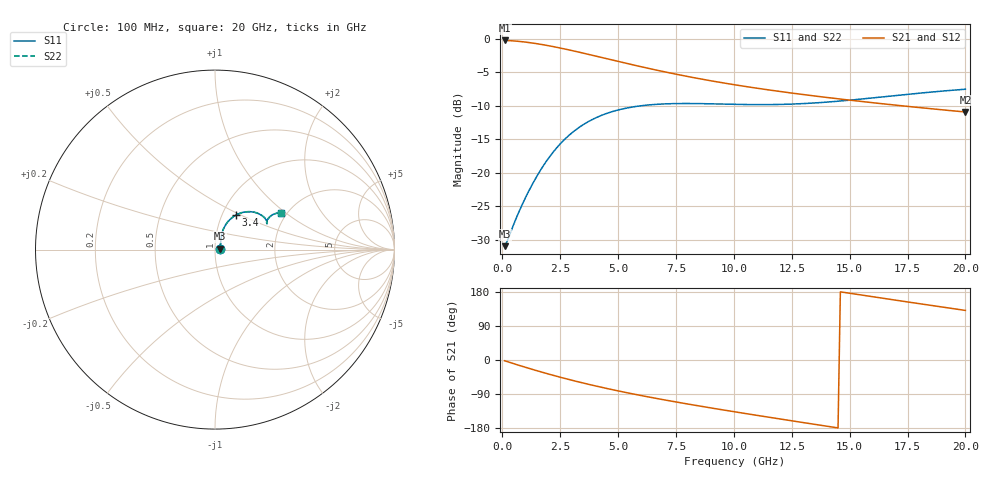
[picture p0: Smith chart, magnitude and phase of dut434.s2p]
! Touchstone file exported from HFSS 2024.1.0
!  File:  C:/UserFiles/LocalFiles/RDL_TSV_Batchsim/temp_RDL_TSV_434_1779720755.aedt
!  Generated:  11:10:46 PM May 25, 2026
!  Design:  RDL_TSV
!  Project:  temp_RDL_TSV_434_1779720755
!  Setup:  Setup1
!  Solution:  Sweep
! Variables:
!  dtsv = 6.81um
!  hbump = 3um
!  htsv = 95.97um
!  ldown = 193.76um
!  lrdl = 616.94um
!  p = 40
!  p1 = 56.95um
!  rhole = 10um
!  subl = 3049.04um
!  t = 450um
!  tdown = 2.1um
!  trdl = 2.09um
!  viad = 10um
!  wdown = 28.3um
!  wrdl = 17.92um
!  xbump = 18um
# GHz S MA R 50.000000
! Terminal data exported
! Port[1] = TM1_1_T1
! Port[2] = TM1_4_T1
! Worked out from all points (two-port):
!   200 points, 100 MHz to 20 GHz, reference 50 ohm
!   highest |S21| = -0.25 dB at 100 MHz (marker M1); lowest = -10.9 dB at 20 GHz (marker M2)
!   |S21| within 3 dB of the highest: start of sweep to 4.851 GHz
!   lowest |S11| = -30.9 dB at 100 MHz (marker M3), VSWR 1.06, Z = 52.9 + j0.644 ohm
!   |S11| at or under -10 dB: start of sweep to 5.961 GHz
!   |S22| runs from -30.9 to -7.5 dB; largest |S21 - S12| = 1.7e-14
!   S11 on the Smith chart (normalised r, x): 100 MHz: 1.06, +0.01; 3.4 GHz: 1.16, +0.47; 20 GHz: 1.87, +0.93
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0.1  0.02843 12.4  0.972 -2.0  0.972 -2.0  0.02843 12.4
! Gamma 0 0 0 0
! Port Impedance 50 0 50 0
0.4  0.03762 38.4  0.9668 -7.9  0.9668 -7.9  0.03761 38.4
0.8  0.05517 54.9  0.9537 -15.5  0.9537 -15.5  0.05516 54.9
1.2  0.07646 63.3  0.9356 -23.0  0.9356 -23.0  0.07645 63.3
1.7  0.1082 67.4  0.9073 -31.9  0.9073 -31.9  0.1082 67.5
2.1  0.1361 67.5  0.8814 -38.8  0.8814 -38.8  0.1361 67.5
2.5  0.1645 65.7  0.8537 -45.4  0.8537 -45.4  0.1646 65.8
2.9  0.192 63.0  0.8251 -51.8  0.8251 -51.8  0.1921 63.1
3.4  0.2235 58.9  0.7888 -59.4  0.7888 -59.4  0.2237 59.0
3.5  0.2293 58.1  0.7816 -60.9  0.7816 -60.9  0.2295 58.1
4.2  0.2649 52.0  0.7319 -70.9  0.7319 -70.9  0.2652 52.1
5.1  0.2974 44.8  0.6722 -82.8  0.6722 -82.8  0.2978 44.8
5.9  0.3152 39.3  0.6244 -92.6  0.6244 -92.6  0.3157 39.4
6.8  0.3257 34.4  0.577 -103.0  0.577 -103.0  0.3263 34.4
8.4  0.3289 28.7  0.5081 -120.2  0.5081 -120.2  0.3295 28.8
10.1  0.3244 26.6  0.4522 -137.4  0.4522 -137.4  0.3251 26.6
11.7  0.3234 27.2  0.4113 -152.8  0.4113 -152.8  0.3241 27.2
13.4  0.3317 29.1  0.3763 -168.9  0.3763 -168.9  0.3324 29.1
15  0.3486 30.6  0.3488 176.1  0.3488 176.1  0.3493 30.6
16.7  0.373 31.2  0.3239 160.5  0.3239 160.5  0.3737 31.2
18.3  0.3974 30.6  0.3035 146.0  0.3035 146.0  0.3981 30.6
20  0.4207 29.0  0.2847 130.8  0.2847 130.8  0.4214 29.0
